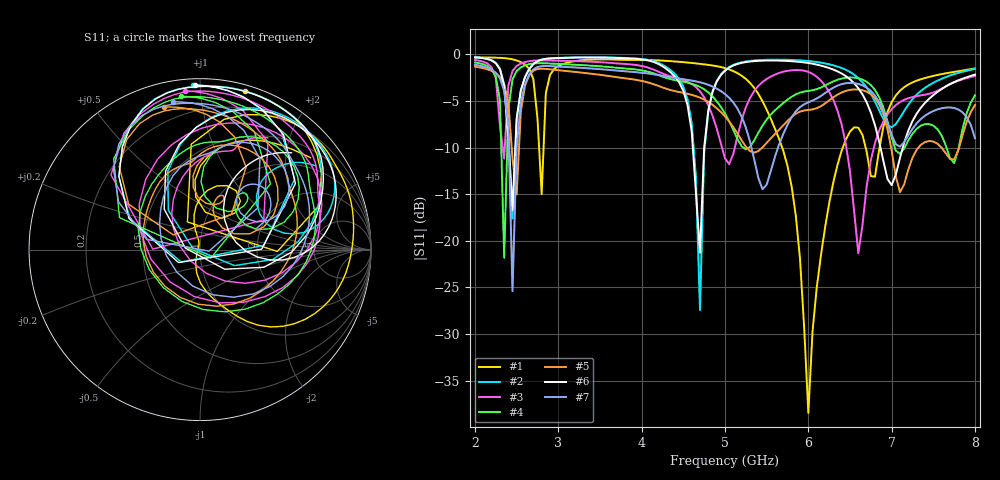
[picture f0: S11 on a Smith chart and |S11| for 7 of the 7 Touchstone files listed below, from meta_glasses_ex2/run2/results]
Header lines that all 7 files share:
! Generated by Hertzon (EMerge FEM)
# HZ S RI R 50
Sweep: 2 GHz to 8 GHz
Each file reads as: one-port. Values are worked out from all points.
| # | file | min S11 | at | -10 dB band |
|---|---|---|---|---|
| 1 | A3.s1p | -38.5 dB | 6 GHz | 728.1 MHz wide |
| 2 | A7.s1p | -27.4 dB | 4.7 GHz | 133.2 MHz wide |
| 3 | A9.s1p | -21.3 dB | 6.6 GHz | 330.1 MHz wide |
| 4 | A10.s1p | -21.8 dB | 2.35 GHz | 116.7 MHz wide |
| 5 | A11.s1p | -15.0 dB | 2.5 GHz | 329.1 MHz wide |
| 6 | A13.s1p | -21.3 dB | 4.7 GHz | 267.9 MHz wide |
| 7 | A17.s1p | -25.4 dB | 2.45 GHz | 319.7 MHz wide |
